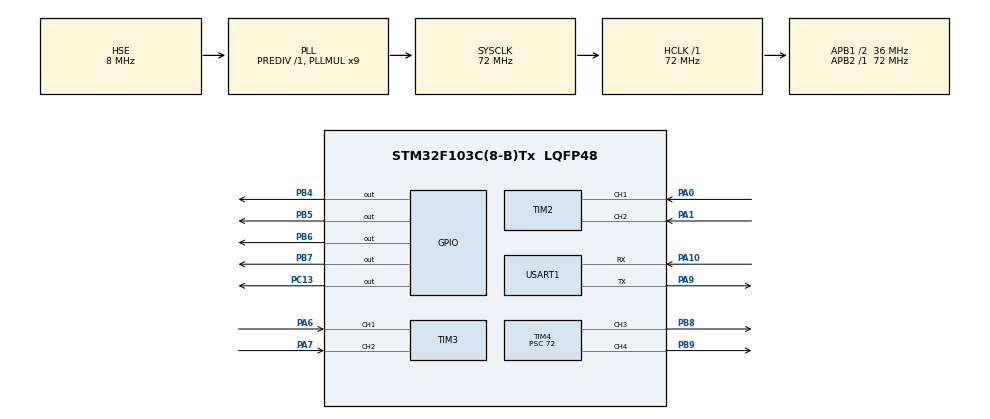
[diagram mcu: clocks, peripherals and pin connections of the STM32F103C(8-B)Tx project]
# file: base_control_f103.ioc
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Dma.Request0=USART1_RX
Dma.Request1=USART1_TX
Dma.USART1_RX.0.Direction=DMA_PERIPH_TO_MEMORY
Dma.USART1_RX.0.Instance=DMA1_Channel5
Dma.USART1_RX.0.MemDataAlignment=DMA_MDATAALIGN_BYTE
Dma.USART1_RX.0.MemInc=DMA_MINC_ENABLE
Dma.USART1_RX.0.Mode=DMA_NORMAL
Dma.USART1_RX.0.PeriphDataAlignment=DMA_PDATAALIGN_BYTE
Dma.USART1_RX.0.PeriphInc=DMA_PINC_DISABLE
Dma.USART1_RX.0.Priority=DMA_PRIORITY_LOW
Dma.USART1_TX.1.Direction=DMA_MEMORY_TO_PERIPH
Dma.USART1_TX.1.Instance=DMA1_Channel4
Dma.USART1_TX.1.MemDataAlignment=DMA_MDATAALIGN_BYTE
Dma.USART1_TX.1.MemInc=DMA_MINC_ENABLE
Dma.USART1_TX.1.Mode=DMA_NORMAL
Dma.USART1_TX.1.PeriphDataAlignment=DMA_PDATAALIGN_BYTE
Dma.USART1_TX.1.PeriphInc=DMA_PINC_DISABLE
Dma.USART1_TX.1.Priority=DMA_PRIORITY_LOW
Mcu.Family=STM32F1
Mcu.Name=STM32F103C(8-B)Tx
Mcu.Package=LQFP48
NVIC.DMA1_Channel4_IRQn=true\:0\:0\:false\:false\:true\:false\:true
NVIC.DMA1_Channel5_IRQn=true\:0\:0\:false\:false\:true\:false\:true
NVIC.PriorityGroup=NVIC_PRIORITYGROUP_4
NVIC.TIM1_BRK_IRQn=true\:1\:0\:true\:false\:true\:true\:true
NVIC.TIM1_UP_IRQn=true\:1\:0\:true\:false\:true\:true\:true
NVIC.USART1_IRQn=true\:0\:0\:false\:false\:true\:true\:true
PA0-WKUP.Signal=S_TIM2_CH1_ETR
PA1.Signal=S_TIM2_CH2
PA10.Mode=Asynchronous
PA10.Signal=USART1_RX
PA13.Mode=JTAG_4_pins
PA13.Signal=SYS_JTMS-SWDIO
PA14.Mode=JTAG_4_pins
PA14.Signal=SYS_JTCK-SWCLK
PA15.Mode=JTAG_4_pins
PA15.Signal=SYS_JTDI
PA6.Signal=S_TIM3_CH1
PA7.Signal=S_TIM3_CH2
PA9.Mode=Asynchronous
PA9.Signal=USART1_TX
PB3.Mode=JTAG_4_pins
PB3.Signal=SYS_JTDO-TRACESWO
PB4.Signal=GPIO_Output
PB5.Signal=GPIO_Output
PB6.Signal=GPIO_Output
PB7.Signal=GPIO_Output
PB8.Signal=S_TIM4_CH3
PB9.Signal=S_TIM4_CH4
PC13-TAMPER-RTC.Signal=GPIO_Output
PC14-OSC32_IN.Mode=LSE-External-Oscillator
PC14-OSC32_IN.Signal=RCC_OSC32_IN
PC15-OSC32_OUT.Mode=LSE-External-Oscillator
PC15-OSC32_OUT.Signal=RCC_OSC32_OUT
PD0-OSC_IN.Mode=HSE-External-Oscillator
PD0-OSC_IN.Signal=RCC_OSC_IN
PD1-OSC_OUT.Mode=HSE-External-Oscillator
PD1-OSC_OUT.Signal=RCC_OSC_OUT
ProjectManager.HeapSize=0x200
ProjectManager.StackSize=0x400
ProjectManager.TargetToolchain=Makefile
RCC.AHBFreq_Value=72000000
RCC.APB1CLKDivider=RCC_HCLK_DIV2
RCC.APB1Freq_Value=36000000
RCC.APB1TimFreq_Value=72000000
RCC.APB2Freq_Value=72000000
RCC.APB2TimFreq_Value=72000000
RCC.HCLKFreq_Value=72000000
RCC.PLLMUL=RCC_PLL_MUL9
RCC.PLLSourceVirtual=RCC_PLLSOURCE_HSE
RCC.SYSCLKFreq_VALUE=72000000
RCC.SYSCLKSource=RCC_SYSCLKSOURCE_PLLCLK
RCC.USBFreq_Value=72000000
SH.S_TIM2_CH1_ETR.0=TIM2_CH1,Encoder_Interface
SH.S_TIM2_CH2.0=TIM2_CH2,Encoder_Interface
SH.S_TIM3_CH1.0=TIM3_CH1,Encoder_Interface
SH.S_TIM3_CH2.0=TIM3_CH2,Encoder_Interface
SH.S_TIM4_CH3.0=TIM4_CH3,PWM Generation3 CH3
SH.S_TIM4_CH4.0=TIM4_CH4,PWM Generation4 CH4
TIM1.Period=100
TIM1.Prescaler=7200
TIM2.EncoderMode=TIM_ENCODERMODE_TI12
TIM3.EncoderMode=TIM_ENCODERMODE_TI12
TIM4.Channel-PWM\ Generation3\ CH3=TIM_CHANNEL_3
TIM4.Channel-PWM\ Generation4\ CH4=TIM_CHANNEL_4
TIM4.Period=100
TIM4.Prescaler=72
USART1.VirtualMode=VM_ASYNC
VP_TIM1_VS_ClockSourceINT.Mode=Internal
board=custom

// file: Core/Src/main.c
/* USER CODE BEGIN Header */
/**
  ******************************************************************************
  * @file           : main.c
  * @brief          : Main program body
  ******************************************************************************
  * @attention
  *
  * <h2><center>&copy; Copyright (c) 2021 STMicroelectronics.
  * All rights reserved.</center></h2>
  *
  * This software component is licensed by ST under BSD 3-Clause license,
  * the "License"; You may not use this file except in compliance with the
  * License. You may obtain a copy of the License at:
  *                        opensource.org/licenses/BSD-3-Clause
  *
  ******************************************************************************
  */
/* USER CODE END Header */
#include "main.h"
#include "dma.h"
#include "tim.h"
#include "usart.h"
#include "gpio.h"

/* USER CODE BEGIN Includes */
#include <stdio.h>
#include <string.h>
#include <stdbool.h>
#include "stm32f1xx_it.h"
#include "stm32f103xb.h"
#include "stm32f1xx_hal.h"
#include "PID.h"
#include "config.h"
#include "frame_resolve.h"
#include "retarget.h"
#include "math.h"
/* USER CODE END Includes */

/* USER CODE BEGIN PD */

#define TF_UPDATE // Enable update TF packages through UART

#define FALSE   0
#define TRUE    1

// #define UART_DEBUG
// #define DEBUG_TF_UPDATE
// #define TEST_HARDWARE

/* USER CODE END PD */

/* USER CODE BEGIN PV */
// Arrays
uint8_t MSG[500] = "Init";
uint8_t linear_a[100] = "\n";
uint8_t angular_a[100] = "\n";
uint8_t rx_buffer[RX_BUFFER_SIZE];
uint8_t dummy_buffer[RX_BUFFER_SIZE];
uint8_t tx_buffer[TX_BUFFER_SIZE];
uint8_t data[8];
uint8_t tx_state_frame[32];
uint8_t prev_rx, last_rx;
// Cross processes values

#ifdef TEST_HARDWARE
volatile uint16_t cnt = 0;
volatile uint16_t last_cnt = 0;
volatile double enc_cnt = 0.0f;
volatile double last_enc_cnt = 0.0f;
#endif

volatile double right_set_speed = 0.0f; // RPM
volatile double left_set_speed = 0.0f; // RPM

#ifdef ENABLE_PID
/* PID Init Variables */

double right_pid_params[3] = {RIGHT_MOTOR_KP , RIGHT_MOTOR_KI, RIGHT_MOTOR_KD};
double left_pid_params[3] = {LEFT_MOTOR_KP , LEFT_MOTOR_KI, LEFT_MOTOR_KD};

// Custom typedef
MOTOR_TypeDef str_right_motor;
PID_TypeDef str_right_pid;
MOTOR_TypeDef str_left_motor;
PID_TypeDef str_left_pid;

#endif
/* Other definitions*/
volatile bool cmd_vel_ready_flag = false; // Those volatile variable is used inside UART callback
volatile bool vel_update_flag = false;
uint8_t tf_publish_ready_flag = TRUE;
uint8_t pid_flag = FALSE;
float left_rpm;
float right_rpm;
float last_l_rpm, last_r_rpm;
uint32_t tick, last_tick, last_update;
/* USER CODE END PV */

void SystemClock_Config(void);

int main(void)
{

  /* MCU Configuration--------------------------------------------------------*/

  /* Reset of all peripherals, Initializes the Flash interface and the Systick. */
  HAL_Init();

  /* Configure the system clock */
  SystemClock_Config();

  /* Initialize all configured peripherals */
  MX_GPIO_Init();
  MX_DMA_Init();
  MX_TIM1_Init();
  MX_TIM2_Init();
  MX_TIM3_Init();
  MX_TIM4_Init();
  MX_USART1_UART_Init();
  /* USER CODE BEGIN 2 */
  //RetargetInit(&huart1);
  HAL_UART_Receive_DMA(&huart1, dummy_buffer, 1);

  #ifdef ENABLE_PID

  PID_MotorInit(&str_right_motor, &str_right_pid, GPIOB, GPIO_PIN_6 , GPIO_PIN_7, 100.0f, 15.0f, &(TIM3->CNT), &(TIM4->CCR3), right_pid_params);
  PID_MotorInit(&str_left_motor, &str_left_pid, GPIOB, GPIO_PIN_4 , GPIO_PIN_5, 100.0f, 15.0f, &(TIM2->CNT), &(TIM4->CCR4), left_pid_params);

  // Start Timer4 for PWM function on channel 3 and channel 4
  HAL_TIM_PWM_Start(&htim4, TIM_CHANNEL_3);
  HAL_TIM_PWM_Start(&htim4, TIM_CHANNEL_4);

  // Reset PWM Duty Cycle to zero on TIM 4 output channel 3 and channel 4
  __HAL_TIM_SET_COMPARE(&htim4, TIM_CHANNEL_3, 0);
  __HAL_TIM_SET_COMPARE(&htim4, TIM_CHANNEL_4, 0);

  // Start Timer3 for RIGHT Encoder Interfacing.
  HAL_TIM_Encoder_Start(&htim3, TIM_CHANNEL_ALL);
  // Start Timer2 for LEFT Encoder Interfacing.
  HAL_TIM_Encoder_Start(&htim2, TIM_CHANNEL_ALL);

  // Start Timer1 for control loop interrupt
  HAL_TIM_Base_Start_IT(&htim1);

  #else
  //Test PWM
  HAL_GPIO_WritePin(GPIOB, GPIO_PIN_6, 1);
  HAL_GPIO_WritePin(GPIOB, GPIO_PIN_7, 0);
  // Start Timer4 for PWM function on channel 3 and channel 4
  HAL_TIM_PWM_Start(&htim4, TIM_CHANNEL_3);
  HAL_TIM_PWM_Start(&htim4, TIM_CHANNEL_4);
  __HAL_TIM_SET_COMPARE(&htim4, TIM_CHANNEL_3, 30);
  __HAL_TIM_SET_COMPARE(&htim4, TIM_CHANNEL_4, 30);
  //Test PI control motor loop
  // Start Timer1 for sampling loop interrupt
  HAL_TIM_Base_Start_IT(&htim1);
  #endif

  // Last update time in tick
  tick = HAL_GetTick();
  last_tick = HAL_GetTick();
  /* USER CODE END 2 */

  /* Infinite loop */
  while (1)
  {

    /* USER CODE BEGIN 3 */

      #ifdef ENABLE_PID
      if (vel_update_flag)
      {
          resolveRxFrame(rx_buffer, &left_rpm, &right_rpm);
          vel_update_flag = false;

          left_set_speed = left_rpm ;
          right_set_speed = right_rpm;
          #ifdef UART_DEBUG
          if (left_rpm != last_l_rpm || right_rpm != last_r_rpm)
          {
              sprintf((char *)MSG, "R: %.5f | L: %.5f \n", left_rpm, right_rpm);
              HAL_UART_Transmit_DMA(&huart1 ,MSG, sizeof(MSG));
          }
          // HAL_GPIO_TogglePin(GPIOA,GPIO_PIN_6);
          #endif
          last_update = HAL_GetTick();
      }
      else
      {
          if ( ((HAL_GetTick() - last_update) > 2000) && ((left_set_speed != 0) || (right_set_speed!=0)))
          {
            left_set_speed = 0;
            right_set_speed = 0;
            HAL_UART_Receive_DMA(&huart1, dummy_buffer, 1);
          }
      }
      #endif
      // Send
      #ifdef TF_UPDATE
      if (tf_publish_ready_flag == TRUE)
      {
        tick = HAL_GetTick();
        uint32_t dtick = tick - last_tick;
        if (dtick > 20)
        {
            #ifndef DEBUG_TF_UPDATE
            double dt = (double)dtick;
            // Publish odometry data
            double left_speed =  (str_left_motor.dir == 0) ? str_left_motor.speed : (- str_left_motor.speed);
            double right_speed =  (str_right_motor.dir == 0) ? str_right_motor.speed : (- str_right_motor.speed);

            parseTxStateFrame(tx_state_frame, left_speed, right_speed, dt);
            HAL_UART_Transmit_DMA(&huart1 ,tx_state_frame, 32);

            #else
            // double vx = 0.1; // M
            // double vth = 0.5; // Rad

            // double left_speed =  (str_left_motor.dir == 0) ? str_left_motor.speed : (- str_left_motor.speed);
            // double right_speed =  (str_right_motor.dir == 0) ? str_right_motor.speed : (- str_right_motor.speed);

            // double vx = (right_speed + left_speed) * ( PI * ROBOT_WHEEL_DIAMETER ) / (2 * 60) ; // M/s
            // double vth = (right_speed - left_speed) * ( PI * ROBOT_WHEEL_DIAMETER ) / (ROBOT_WHEEL_BASE * 60); // Rad/s

            sprintf((char *)MSG, "\nL: %.5f | R: %.5f", left_set_speed, right_set_speed);
            HAL_UART_Transmit_DMA(&huart1 ,MSG, sizeof(MSG));

            // sprintf((char *)MSG, tx_state_frame);
            // HAL_UART_Transmit_DMA(&huart1 ,MSG, 32);
            #endif

            last_tick = tick;
        }
      }
      #endif
    }
  /* USER CODE END 3 */
}

void SystemClock_Config(void)
{
  RCC_OscInitTypeDef RCC_OscInitStruct = {0};
  RCC_ClkInitTypeDef RCC_ClkInitStruct = {0};

  /** Initializes the RCC Oscillators according to the specified parameters
  * in the RCC_OscInitTypeDef structure.
  */
  RCC_OscInitStruct.OscillatorType = RCC_OSCILLATORTYPE_HSE;
  RCC_OscInitStruct.HSEState = RCC_HSE_ON;
  RCC_OscInitStruct.HSEPredivValue = RCC_HSE_PREDIV_DIV1;
  RCC_OscInitStruct.HSIState = RCC_HSI_ON;
  RCC_OscInitStruct.PLL.PLLState = RCC_PLL_ON;
  RCC_OscInitStruct.PLL.PLLSource = RCC_PLLSOURCE_HSE;
  RCC_OscInitStruct.PLL.PLLMUL = RCC_PLL_MUL9;
  if (HAL_RCC_OscConfig(&RCC_OscInitStruct) != HAL_OK)
  {
    Error_Handler();
  }
  /** Initializes the CPU, AHB and APB buses clocks
  */
  RCC_ClkInitStruct.ClockType = RCC_CLOCKTYPE_HCLK|RCC_CLOCKTYPE_SYSCLK
                              |RCC_CLOCKTYPE_PCLK1|RCC_CLOCKTYPE_PCLK2;
  RCC_ClkInitStruct.SYSCLKSource = RCC_SYSCLKSOURCE_PLLCLK;
  RCC_ClkInitStruct.AHBCLKDivider = RCC_SYSCLK_DIV1;
  RCC_ClkInitStruct.APB1CLKDivider = RCC_HCLK_DIV2;
  RCC_ClkInitStruct.APB2CLKDivider = RCC_HCLK_DIV1;

  if (HAL_RCC_ClockConfig(&RCC_ClkInitStruct, FLASH_LATENCY_2) != HAL_OK)
  {
    Error_Handler();
  }
}

/* USER CODE BEGIN 4 */

void map_speed(float a_vel, float l_vel, double *r_set_rpm, double *r_set_lpm)
{
    __NOP();
}

/* Timer Interrupt for PID control*/
void HAL_TIM_PeriodElapsedCallback(TIM_HandleTypeDef *htim)
{
  if (htim == &htim1)
  {
    #ifdef TEST_HARDWARE
    // Do sampling and calculate stuff
    cnt++;
    if (cnt == 100)
    {

        enc_cnt = TIM3->CNT;
        HAL_GPIO_TogglePin(GPIOA, GPIO_PIN_7);
        if (enc_cnt!=last_enc_cnt)
        {
          sprintf((char *)period, "-> %d pulses/sec\n", (enc_cnt-last_enc_cnt));
          HAL_UART_Transmit_DMA(&huart1, period, sizeof(period));
        }
        cnt = 0;
        last_enc_cnt = enc_cnt;
    }
    #endif

    #ifdef ENABLE_PID
    /* =================
    * MAIN PID CLOSE-LOOP SAMPLING AND COMPUTE
    *  =================== */
    PID_PreProcess(&str_right_motor, right_set_speed);
    PID_PreProcess(&str_left_motor, left_set_speed);
    PID_ComputeOutput(&str_right_motor);
    PID_ComputeOutput(&str_left_motor);
    PID_SetDuty(&str_right_motor );
    PID_SetDuty(&str_left_motor );
    #else
    // Test encoder, blink LED every 100 pulses
    static uint32_t counter = 0;
    if (counter >= 100)
    {
      HAL_GPIO_TogglePin(GPIOC, GPIO_PIN_13);
      counter = 0;
    }
    counter++;
    #endif
  }
}

// UART RX callback for cmd_vel receive
void HAL_UART_RxCpltCallback(UART_HandleTypeDef *huart)
{
    if (cmd_vel_ready_flag == true)
    {
        cmd_vel_ready_flag = false;
        vel_update_flag = true;
        HAL_UART_Receive_DMA(&huart1, dummy_buffer, 1);
    }
    else
    {
        if (dummy_buffer[0] == 0x16 && prev_rx == 0x16 && last_rx == 0x16) // SYN
        {
            cmd_vel_ready_flag = true;
            memset(rx_buffer, 0, RX_BUFFER_SIZE);
            HAL_UART_Receive_DMA(&huart1, rx_buffer, RX_BUFFER_SIZE);
        }
        else
        {
            HAL_UART_Receive_DMA(&huart1, dummy_buffer, 1);
        }
    }
    // This session for enabling TX Velocity after receive signal from PI
    // Note: Without snippet, PI gonna be spamed on TX pin and wont boot
    // if (tf_publish_ready_flag == FALSE)
    // {
    //     if (rx_buffer[0] == 0x16 && prev_rx == 0x02 && last_rx == 0x16)
    //     {
    //         tf_publish_ready_flag = TRUE;
    //     }
    // }
    last_rx = prev_rx;
    prev_rx = dummy_buffer[0];
}
/* USER CODE END 4 */

void Error_Handler(void)
{
  __disable_irq();
  while (1)
  {
  }
}

/************************ (C) COPYRIGHT STMicroelectronics *****END OF FILE****/
